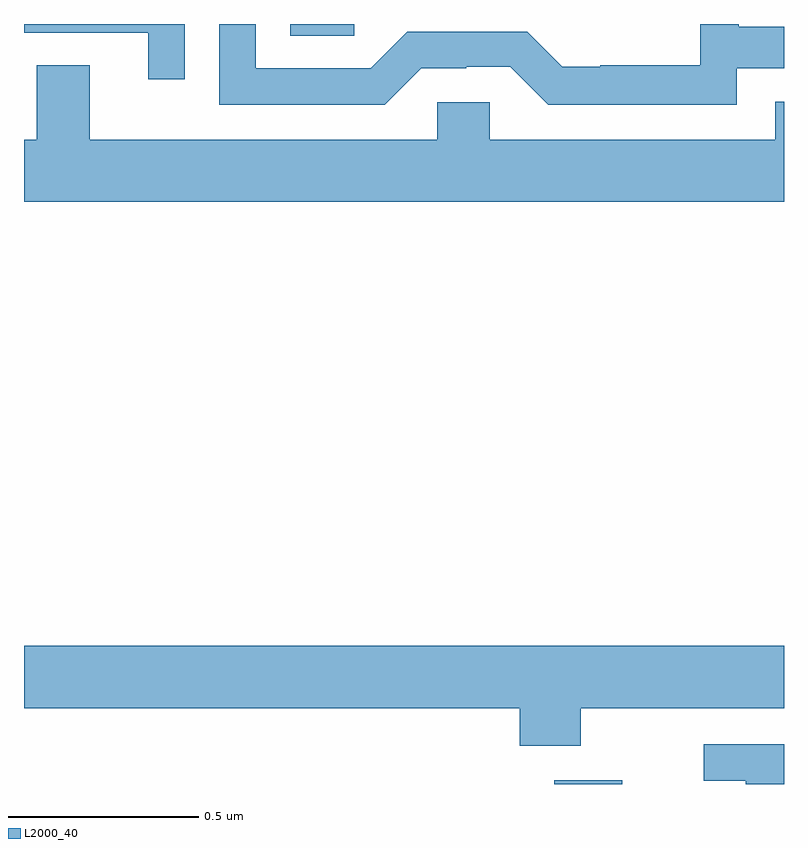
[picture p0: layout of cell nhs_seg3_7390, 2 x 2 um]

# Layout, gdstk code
import gdstk
lib = gdstk.Library(unit=1e-6, precision=1e-09)
def R(c, l, rs):  # rectangles x0, y0, x1, y1
    for r in rs: c.add(gdstk.rectangle(r[:2], r[2:], *l))
def P(c, l, *ps):  # polygons
    for p in ps: c.add(gdstk.Polygon(p, *l))
L2000_40 = (2000, 40)

nhs_seg3_7390 = lib.new_cell('nhs_seg3_7390')
R(nhs_seg3_7390, L2000_40, [(204.395,683.4,204.574,683.41), (203.7,685.369,203.869,685.4)])
P(nhs_seg3_7390, L2000_40, [(204.876,685.284),(205,685.284),(205,685.393),(204.881,685.393),(204.881,685.4),(204.78,685.4),(204.78,685.291),(204.517,685.291),(204.517,685.287),(204.417,685.287),(204.324,685.38),(204.009,685.38),(203.913,685.284),(203.61,685.284),(203.61,685.4),(203.514,685.4),(203.514,685.188),(203.949,685.188),(204.045,685.284),(204.164,685.284),(204.164,685.287),(204.279,685.287),(204.379,685.187),(204.876,685.187)],
  [(203.423,685.4),(203,685.4),(203,685.377),(203.327,685.377),(203.327,685.254),(203.423,685.254)],
  [(205,685.195),(204.977,685.195),(204.977,685.096),(204.225,685.096),(204.225,685.194),(204.087,685.194),(204.087,685.096),(203.173,685.096),(203.173,685.291),(203.033,685.291),(203.033,685.096),(203,685.096),(203,684.932),(205,684.932)],
  [(204.465,683.6),(205,683.6),(205,683.764),(203,683.764),(203,683.6),(204.305,683.6),(204.305,683.501),(204.465,683.501)],
  [(205,683.505),(204.789,683.505),(204.789,683.409),(204.899,683.409),(204.899,683.4),(205,683.4)])

lib.write_gds('nhs_seg3_7390.gds')
